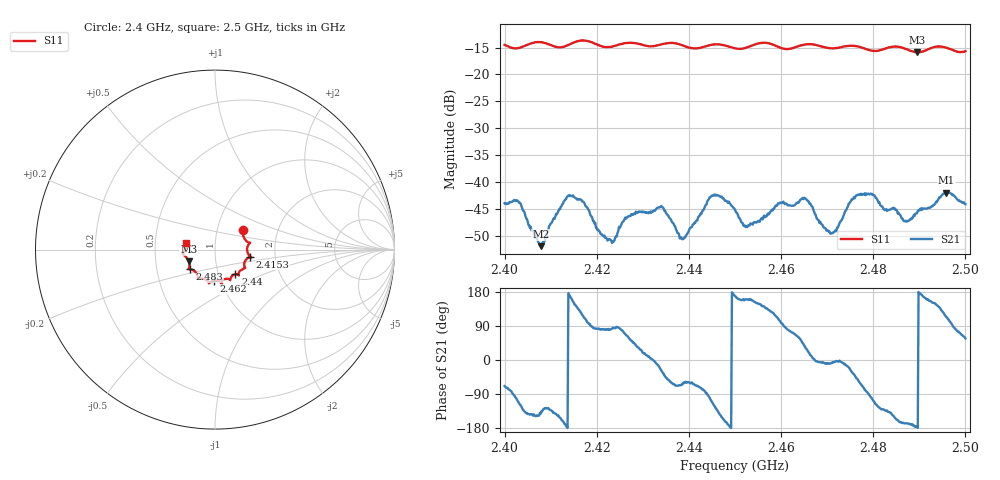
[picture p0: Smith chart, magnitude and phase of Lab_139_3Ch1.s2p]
# Hz S RI R 50
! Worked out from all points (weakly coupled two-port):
!   601 points, 2.4 GHz to 2.5 GHz, reference 50 ohm
!   highest |S21| = -41.97 dB at 2.4958 GHz (marker M1); lowest = -51.9 dB at 2.4078 GHz (marker M2)
!   lowest |S11| = -15.9 dB at 2.4895 GHz (marker M3), VSWR 1.38, Z = 37 - j5 ohm
!   |S11| at or under -10 dB: start of sweep to end of sweep
!   S12 and S22 are empty: the file has one direction only
!   S11 on the Smith chart (normalised r, x): 2.4 GHz: 1.33, +0.29; 2.4153 GHz: 1.48, -0.12; 2.44 GHz: 1.20, -0.34; 2.462 GHz: 0.93, -0.33; 2.483 GHz: 0.74, -0.17; 2.5 GHz: 0.72, +0.06
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2.4e9  0.1551 0.1066  0.00229 -0.00591  0 0  0 0
2.403167e9  0.167 0.0571  -0.00265 -0.00582  0 0  0 0
2.407833e9  0.1956 0.0379  -0.00198 -0.00156  0 0  0 0
2.415333e9  0.1967 -0.0386  -0.00587 0.00401  0 0  0 0
2.416667e9  0.2023 -0.0426  -0.00371 0.0057  0 0  0 0
2.423333e9  0.1627 -0.0803  0.000339 0.00268  0 0  0 0
2.4265e9  0.1676 -0.1017  0.00203 0.00422  0 0  0 0
2.433333e9  0.1311 -0.1332  0.00561 -0.00141  0 0  0 0
2.438333e9  0.127 -0.1389  0.00122 -0.00279  0 0  0 0
2.44e9  0.1139 -0.1365  0.00183 -0.00301  0 0  0 0
2.445e9  0.0848 -0.1686  -0.0026 -0.007  0 0  0 0
2.45e9  0.0646 -0.1625  -0.00539 0.00112  0 0  0 0
2.4525e9  0.041 -0.1729  -0.00362 0.00128  0 0  0 0
2.462e9  -0.00526 -0.1734  0.00148 0.00584  0 0  0 0
2.466667e9  -0.0344 -0.1875  0.00586 0.000948  0 0  0 0
2.470833e9  -0.0565 -0.1653  0.00327 -0.000479  0 0  0 0
2.476833e9  -0.0956 -0.154  0.00427 -0.00635  0 0  0 0
2.483e9  -0.1375 -0.1097  -0.00368 -0.00392  0 0  0 0
2.483333e9  -0.1402 -0.1094  -0.00402 -0.00373  0 0  0 0
2.4895e9  -0.1462 -0.0659  -0.0051 -0.000227  0 0  0 0
2.495833e9  -0.1765 -0.0162  -0.00323 0.00728  0 0  0 0
2.5e9  -0.1597 0.0391  0.00338 0.00521  0 0  0 0
